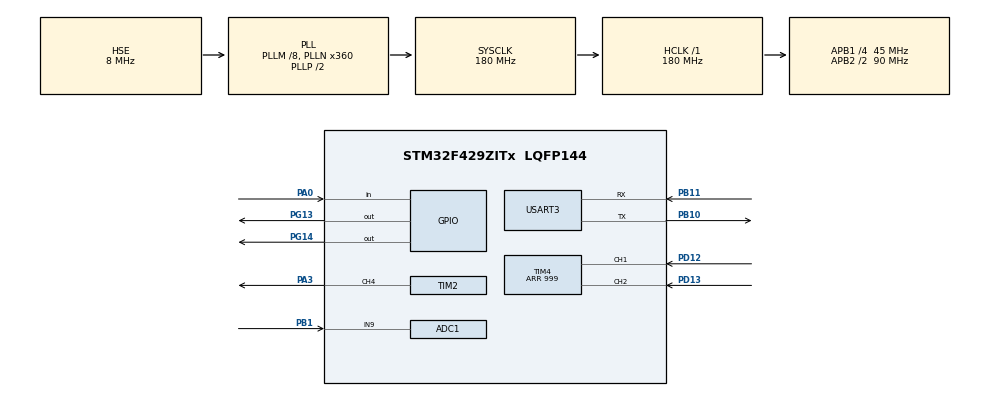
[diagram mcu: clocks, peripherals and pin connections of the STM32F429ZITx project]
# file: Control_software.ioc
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ADC1.Channel-0\#ChannelRegularConversion=ADC_CHANNEL_9
ADC1.DMAContinuousRequests=ENABLE
ADC1.EOCSelection=ADC_EOC_SEQ_CONV
ADC1.ExternalTrigConv=ADC_EXTERNALTRIGCONV_T2_TRGO
ADC1.NbrOfConversion=1
ADC1.NbrOfConversionFlag=1
ADC1.Rank-0\#ChannelRegularConversion=1
ADC1.SamplingTime-0\#ChannelRegularConversion=ADC_SAMPLETIME_3CYCLES
ADC1.master=1
Dma.ADC1.1.Direction=DMA_PERIPH_TO_MEMORY
Dma.ADC1.1.FIFOMode=DMA_FIFOMODE_DISABLE
Dma.ADC1.1.Instance=DMA2_Stream0
Dma.ADC1.1.MemDataAlignment=DMA_MDATAALIGN_HALFWORD
Dma.ADC1.1.MemInc=DMA_MINC_DISABLE
Dma.ADC1.1.Mode=DMA_CIRCULAR
Dma.ADC1.1.PeriphDataAlignment=DMA_PDATAALIGN_HALFWORD
Dma.ADC1.1.PeriphInc=DMA_PINC_DISABLE
Dma.ADC1.1.Priority=DMA_PRIORITY_LOW
Dma.Request0=USART3_TX
Dma.Request1=ADC1
Dma.USART3_TX.0.Direction=DMA_MEMORY_TO_PERIPH
Dma.USART3_TX.0.FIFOMode=DMA_FIFOMODE_DISABLE
Dma.USART3_TX.0.Instance=DMA1_Stream3
Dma.USART3_TX.0.MemDataAlignment=DMA_MDATAALIGN_BYTE
Dma.USART3_TX.0.MemInc=DMA_MINC_ENABLE
Dma.USART3_TX.0.Mode=DMA_NORMAL
Dma.USART3_TX.0.PeriphDataAlignment=DMA_PDATAALIGN_BYTE
Dma.USART3_TX.0.PeriphInc=DMA_PINC_DISABLE
Dma.USART3_TX.0.Priority=DMA_PRIORITY_LOW
Mcu.Family=STM32F4
Mcu.Name=STM32F429ZITx
Mcu.Package=LQFP144
NVIC.DMA1_Stream3_IRQn=true\:0\:0\:false\:false\:true\:false\:true\:true
NVIC.DMA2_Stream0_IRQn=true\:0\:0\:false\:false\:true\:false\:true\:true
NVIC.PriorityGroup=NVIC_PRIORITYGROUP_4
NVIC.TIM2_IRQn=true\:0\:0\:false\:false\:true\:true\:true\:true
NVIC.USART3_IRQn=true\:0\:0\:false\:false\:true\:true\:true\:true
PA0/WKUP.GPIO_Mode=GPIO_MODE_INPUT
PA0/WKUP.GPIO_PuPd=GPIO_NOPULL
PA0/WKUP.Signal=GPIO_Input
PA3.Signal=S_TIM2_CH4
PB1.Signal=ADCx_IN9
PB10.Mode=Asynchronous
PB10.Signal=USART3_TX
PB11.Mode=Asynchronous
PB11.Signal=USART3_RX
PD12.Signal=S_TIM4_CH1
PD13.Signal=S_TIM4_CH2
PG13.GPIO_PuPd=GPIO_NOPULL
PG13.Signal=GPIO_Output
PG14.GPIO_PuPd=GPIO_NOPULL
PG14.Signal=GPIO_Output
PH0/OSC_IN.Mode=HSE-External-Oscillator
PH0/OSC_IN.Signal=RCC_OSC_IN
PH1/OSC_OUT.Mode=HSE-External-Oscillator
PH1/OSC_OUT.Signal=RCC_OSC_OUT
ProjectManager.HeapSize=0x200
ProjectManager.StackSize=0x400
ProjectManager.TargetToolchain=STM32CubeIDE
RCC.48MHZClocksFreq_Value=90000000
RCC.AHBFreq_Value=180000000
RCC.APB1CLKDivider=RCC_HCLK_DIV4
RCC.APB1Freq_Value=45000000
RCC.APB1TimFreq_Value=90000000
RCC.APB2CLKDivider=RCC_HCLK_DIV2
RCC.APB2Freq_Value=90000000
RCC.APB2TimFreq_Value=180000000
RCC.CortexFreq_Value=180000000
RCC.HCLKFreq_Value=180000000
RCC.HSE_VALUE=8000000
RCC.HSI_VALUE=16000000
RCC.LSE_VALUE=32768
RCC.PLLM=8
RCC.PLLN=360
RCC.PLLSourceVirtual=RCC_PLLSOURCE_HSE
RCC.SYSCLKFreq_VALUE=180000000
RCC.SYSCLKSource=RCC_SYSCLKSOURCE_PLLCLK
RCC.VCOOutputFreq_Value=360000000
SH.ADCx_IN9.0=ADC1_IN9,IN9
SH.S_TIM2_CH4.0=TIM2_CH4,PWM Generation4 CH4
SH.S_TIM4_CH1.0=TIM4_CH1,Encoder_Interface
SH.S_TIM4_CH2.0=TIM4_CH2,Encoder_Interface
TIM2.Channel-PWM\ Generation4\ CH4=TIM_CHANNEL_4
TIM2.OCPolarity_4=TIM_OCPOLARITY_LOW
TIM2.Period=999
TIM2.Prescaler=89
TIM2.TIM_MasterOutputTrigger=TIM_TRGO_UPDATE
TIM4.EncoderMode=TIM_ENCODERMODE_TI12
TIM4.Period=999
USART3.VirtualMode=VM_ASYNC
VP_TIM2_VS_ClockSourceINT.Mode=Internal
board=custom

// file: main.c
/* USER CODE BEGIN Header */
/**
  ******************************************************************************
  * @file           : main.c
  * @brief          : Main program body
  ******************************************************************************
  * @attention
  *
  * Copyright (c) 2024 STMicroelectronics.
  * All rights reserved.
  *
  * This software is licensed under terms that can be found in the LICENSE file
  * in the root directory of this software component.
  * If no LICENSE file comes with this software, it is provided AS-IS.
  *
  ******************************************************************************
  */
/* USER CODE END Header */
#include "main.h"

/* USER CODE BEGIN Includes */
#include <stdio.h>
/* USER CODE END Includes */

ADC_HandleTypeDef hadc1;
DMA_HandleTypeDef hdma_adc1;

TIM_HandleTypeDef htim2;
TIM_HandleTypeDef htim4;

UART_HandleTypeDef huart3;
DMA_HandleTypeDef hdma_usart3_tx;

void SystemClock_Config(void);
static void MX_GPIO_Init(void);
static void MX_DMA_Init(void);
static void MX_USART3_UART_Init(void);
static void MX_TIM2_Init(void);
static void MX_TIM4_Init(void);
static void MX_ADC1_Init(void);
/* USER CODE BEGIN PFP */
uint16_t adc_pot;
/* USER CODE END PFP */

/* USER CODE BEGIN 0 */
void delay(int32_t i_max);
int _write(int fd, char* ptr, int len);
/* USER CODE END 0 */

int main(void)
{

  /* MCU Configuration--------------------------------------------------------*/

  /* Reset of all peripherals, Initializes the Flash interface and the Systick. */
  HAL_Init();

  /* USER CODE BEGIN Init */

  // *** TIM2 - Motor PWM
  // --------------------------------------------------
  __HAL_RCC_TIM2_CLK_ENABLE();
  // --------------------------------------------------

  // *** TIM4 - Encoder Position
  // --------------------------------------------------
  __HAL_RCC_TIM4_CLK_ENABLE();
  // --------------------------------------------------

  // *** TIM4 - Encoder Position
  // --------------------------------------------------
  __HAL_RCC_TIM4_CLK_ENABLE();
  // --------------------------------------------------

  /* USER CODE END Init */

  /* Configure the system clock */
  SystemClock_Config();

  /* Initialize all configured peripherals */
  MX_GPIO_Init();
  MX_DMA_Init();
  MX_USART3_UART_Init();
  MX_TIM2_Init();
  MX_TIM4_Init();
  MX_ADC1_Init();
  /* USER CODE BEGIN 2 */

  // *** TIM2 - PWM
  // --------------------------------------------------
  HAL_TIM_PWM_Start(&htim2, TIM_CHANNEL_4);
  HAL_TIM_Base_Start_IT(&htim2);
  // --------------------------------------------------

  // *** ADC - POT
  // -----------------------------------------------------------------
  HAL_ADC_Start_DMA(&hadc1, &adc_pot, 1);
  // -----------------------------------------------------------------

  // *** TIM4 - ENCO
  // -----------------------------------------------------------------
  HAL_TIM_Encoder_Start(&htim4, TIM_CHANNEL_1);
  HAL_TIM_Encoder_Start(&htim4, TIM_CHANNEL_2);
  // -----------------------------------------------------------------

  /* USER CODE END 2 */

  /* Infinite loop */
  /* USER CODE BEGIN WHILE */
  while (1)
  {
	  // GPIO Output
	  // -------------------------------------------------------------
	  /*
	  delay(1000000);
	  HAL_GPIO_WritePin(GPIOG, GPIO_PIN_13, GPIO_PIN_SET);
	  delay(1000000);
	  HAL_GPIO_WritePin(GPIOG, GPIO_PIN_13, GPIO_PIN_RESET);
	  */
	  // -------------------------------------------------------------

	  // GPIO Input
	  // -------------------------------------------------------------
	  /*
	  if(HAL_GPIO_ReadPin(GPIOA, GPIO_PIN_0) == GPIO_PIN_RESET)
		  HAL_GPIO_WritePin(GPIOG, GPIO_PIN_14, GPIO_PIN_RESET);
	  else
		  HAL_GPIO_WritePin(GPIOG, GPIO_PIN_14, GPIO_PIN_SET);
		*/
	  // -------------------------------------------------------------

	  // USART3/DMA/printf
	  // -------------------------------------------------------------
	  /*
	  printf("STM32!\r\n");
	  delay(10000000);
	  */
	  // -------------------------------------------------------------

	  // ** TIM - PWM
	  TIM2->CCR4 = 750;

	  printf("EncoPos: %i; ADC: %i\r\n", TIM4->CNT, adc_pot);
	  delay(10000000);

    /* USER CODE END WHILE */

  }
}

void SystemClock_Config(void)
{
  RCC_OscInitTypeDef RCC_OscInitStruct = {0};
  RCC_ClkInitTypeDef RCC_ClkInitStruct = {0};

  /** Configure the main internal regulator output voltage
  */
  __HAL_RCC_PWR_CLK_ENABLE();
  __HAL_PWR_VOLTAGESCALING_CONFIG(PWR_REGULATOR_VOLTAGE_SCALE1);

  /** Initializes the RCC Oscillators according to the specified parameters
  * in the RCC_OscInitTypeDef structure.
  */
  RCC_OscInitStruct.OscillatorType = RCC_OSCILLATORTYPE_HSE;
  RCC_OscInitStruct.HSEState = RCC_HSE_ON;
  RCC_OscInitStruct.PLL.PLLState = RCC_PLL_ON;
  RCC_OscInitStruct.PLL.PLLSource = RCC_PLLSOURCE_HSE;
  RCC_OscInitStruct.PLL.PLLM = 8;
  RCC_OscInitStruct.PLL.PLLN = 360;
  RCC_OscInitStruct.PLL.PLLP = RCC_PLLP_DIV2;
  RCC_OscInitStruct.PLL.PLLQ = 4;
  if (HAL_RCC_OscConfig(&RCC_OscInitStruct) != HAL_OK)
  {
    Error_Handler();
  }

  /** Activate the Over-Drive mode
  */
  if (HAL_PWREx_EnableOverDrive() != HAL_OK)
  {
    Error_Handler();
  }

  /** Initializes the CPU, AHB and APB buses clocks
  */
  RCC_ClkInitStruct.ClockType = RCC_CLOCKTYPE_HCLK|RCC_CLOCKTYPE_SYSCLK
                              |RCC_CLOCKTYPE_PCLK1|RCC_CLOCKTYPE_PCLK2;
  RCC_ClkInitStruct.SYSCLKSource = RCC_SYSCLKSOURCE_PLLCLK;
  RCC_ClkInitStruct.AHBCLKDivider = RCC_SYSCLK_DIV1;
  RCC_ClkInitStruct.APB1CLKDivider = RCC_HCLK_DIV4;
  RCC_ClkInitStruct.APB2CLKDivider = RCC_HCLK_DIV2;

  if (HAL_RCC_ClockConfig(&RCC_ClkInitStruct, FLASH_LATENCY_5) != HAL_OK)
  {
    Error_Handler();
  }
}

static void MX_ADC1_Init(void)
{

  ADC_ChannelConfTypeDef sConfig = {0};

  /** Configure the global features of the ADC (Clock, Resolution, Data Alignment and number of conversion)
  */
  hadc1.Instance = ADC1;
  hadc1.Init.ClockPrescaler = ADC_CLOCK_SYNC_PCLK_DIV4;
  hadc1.Init.Resolution = ADC_RESOLUTION_12B;
  hadc1.Init.ScanConvMode = DISABLE;
  hadc1.Init.ContinuousConvMode = DISABLE;
  hadc1.Init.DiscontinuousConvMode = DISABLE;
  hadc1.Init.ExternalTrigConvEdge = ADC_EXTERNALTRIGCONVEDGE_RISING;
  hadc1.Init.ExternalTrigConv = ADC_EXTERNALTRIGCONV_T2_TRGO;
  hadc1.Init.DataAlign = ADC_DATAALIGN_RIGHT;
  hadc1.Init.NbrOfConversion = 1;
  hadc1.Init.DMAContinuousRequests = ENABLE;
  hadc1.Init.EOCSelection = ADC_EOC_SEQ_CONV;
  if (HAL_ADC_Init(&hadc1) != HAL_OK)
  {
    Error_Handler();
  }

  /** Configure for the selected ADC regular channel its corresponding rank in the sequencer and its sample time.
  */
  sConfig.Channel = ADC_CHANNEL_9;
  sConfig.Rank = 1;
  sConfig.SamplingTime = ADC_SAMPLETIME_3CYCLES;
  if (HAL_ADC_ConfigChannel(&hadc1, &sConfig) != HAL_OK)
  {
    Error_Handler();
  }

}

static void MX_TIM2_Init(void)
{

  TIM_ClockConfigTypeDef sClockSourceConfig = {0};
  TIM_MasterConfigTypeDef sMasterConfig = {0};
  TIM_OC_InitTypeDef sConfigOC = {0};

  htim2.Instance = TIM2;
  htim2.Init.Prescaler = 89;
  htim2.Init.CounterMode = TIM_COUNTERMODE_UP;
  htim2.Init.Period = 999;
  htim2.Init.ClockDivision = TIM_CLOCKDIVISION_DIV1;
  htim2.Init.AutoReloadPreload = TIM_AUTORELOAD_PRELOAD_DISABLE;
  if (HAL_TIM_Base_Init(&htim2) != HAL_OK)
  {
    Error_Handler();
  }
  sClockSourceConfig.ClockSource = TIM_CLOCKSOURCE_INTERNAL;
  if (HAL_TIM_ConfigClockSource(&htim2, &sClockSourceConfig) != HAL_OK)
  {
    Error_Handler();
  }
  if (HAL_TIM_PWM_Init(&htim2) != HAL_OK)
  {
    Error_Handler();
  }
  sMasterConfig.MasterOutputTrigger = TIM_TRGO_UPDATE;
  sMasterConfig.MasterSlaveMode = TIM_MASTERSLAVEMODE_DISABLE;
  if (HAL_TIMEx_MasterConfigSynchronization(&htim2, &sMasterConfig) != HAL_OK)
  {
    Error_Handler();
  }
  sConfigOC.OCMode = TIM_OCMODE_PWM1;
  sConfigOC.Pulse = 0;
  sConfigOC.OCPolarity = TIM_OCPOLARITY_LOW;
  sConfigOC.OCFastMode = TIM_OCFAST_DISABLE;
  if (HAL_TIM_PWM_ConfigChannel(&htim2, &sConfigOC, TIM_CHANNEL_4) != HAL_OK)
  {
    Error_Handler();
  }
  HAL_TIM_MspPostInit(&htim2);

}

static void MX_TIM4_Init(void)
{

  TIM_Encoder_InitTypeDef sConfig = {0};
  TIM_MasterConfigTypeDef sMasterConfig = {0};

  htim4.Instance = TIM4;
  htim4.Init.Prescaler = 0;
  htim4.Init.CounterMode = TIM_COUNTERMODE_UP;
  htim4.Init.Period = 999;
  htim4.Init.ClockDivision = TIM_CLOCKDIVISION_DIV1;
  htim4.Init.AutoReloadPreload = TIM_AUTORELOAD_PRELOAD_DISABLE;
  sConfig.EncoderMode = TIM_ENCODERMODE_TI12;
  sConfig.IC1Polarity = TIM_ICPOLARITY_RISING;
  sConfig.IC1Selection = TIM_ICSELECTION_DIRECTTI;
  sConfig.IC1Prescaler = TIM_ICPSC_DIV1;
  sConfig.IC1Filter = 0;
  sConfig.IC2Polarity = TIM_ICPOLARITY_RISING;
  sConfig.IC2Selection = TIM_ICSELECTION_DIRECTTI;
  sConfig.IC2Prescaler = TIM_ICPSC_DIV1;
  sConfig.IC2Filter = 0;
  if (HAL_TIM_Encoder_Init(&htim4, &sConfig) != HAL_OK)
  {
    Error_Handler();
  }
  sMasterConfig.MasterOutputTrigger = TIM_TRGO_RESET;
  sMasterConfig.MasterSlaveMode = TIM_MASTERSLAVEMODE_DISABLE;
  if (HAL_TIMEx_MasterConfigSynchronization(&htim4, &sMasterConfig) != HAL_OK)
  {
    Error_Handler();
  }

}

static void MX_USART3_UART_Init(void)
{

  huart3.Instance = USART3;
  huart3.Init.BaudRate = 115200;
  huart3.Init.WordLength = UART_WORDLENGTH_8B;
  huart3.Init.StopBits = UART_STOPBITS_1;
  huart3.Init.Parity = UART_PARITY_NONE;
  huart3.Init.Mode = UART_MODE_TX_RX;
  huart3.Init.HwFlowCtl = UART_HWCONTROL_NONE;
  huart3.Init.OverSampling = UART_OVERSAMPLING_16;
  if (HAL_UART_Init(&huart3) != HAL_OK)
  {
    Error_Handler();
  }

}

static void MX_DMA_Init(void)
{

  /* DMA controller clock enable */
  __HAL_RCC_DMA1_CLK_ENABLE();
  __HAL_RCC_DMA2_CLK_ENABLE();

  /* DMA interrupt init */
  /* DMA1_Stream3_IRQn interrupt configuration */
  HAL_NVIC_SetPriority(DMA1_Stream3_IRQn, 0, 0);
  HAL_NVIC_EnableIRQ(DMA1_Stream3_IRQn);
  /* DMA2_Stream0_IRQn interrupt configuration */
  HAL_NVIC_SetPriority(DMA2_Stream0_IRQn, 0, 0);
  HAL_NVIC_EnableIRQ(DMA2_Stream0_IRQn);

}

static void MX_GPIO_Init(void)
{
  GPIO_InitTypeDef GPIO_InitStruct = {0};

  /* GPIO Ports Clock Enable */
  __HAL_RCC_GPIOH_CLK_ENABLE();
  __HAL_RCC_GPIOA_CLK_ENABLE();
  __HAL_RCC_GPIOB_CLK_ENABLE();
  __HAL_RCC_GPIOD_CLK_ENABLE();
  __HAL_RCC_GPIOG_CLK_ENABLE();

  /*Configure GPIO pin Output Level */
  HAL_GPIO_WritePin(GPIOG, GPIO_PIN_13|GPIO_PIN_14, GPIO_PIN_RESET);

  /*Configure GPIO pin : PA0 */
  GPIO_InitStruct.Pin = GPIO_PIN_0;
  GPIO_InitStruct.Mode = GPIO_MODE_INPUT;
  GPIO_InitStruct.Pull = GPIO_NOPULL;
  HAL_GPIO_Init(GPIOA, &GPIO_InitStruct);

  /*Configure GPIO pins : PG13 PG14 */
  GPIO_InitStruct.Pin = GPIO_PIN_13|GPIO_PIN_14;
  GPIO_InitStruct.Mode = GPIO_MODE_OUTPUT_PP;
  GPIO_InitStruct.Pull = GPIO_NOPULL;
  GPIO_InitStruct.Speed = GPIO_SPEED_FREQ_LOW;
  HAL_GPIO_Init(GPIOG, &GPIO_InitStruct);

}

/* USER CODE BEGIN 4 */

void delay(int32_t i_max)
{
	volatile int32_t i;

	for(i = 0; i < i_max; i++);
}

int _write(int fd, char* ptr, int len)
{
    HAL_UART_Transmit_DMA(&huart3, (uint8_t *) ptr, len);
	//HAL_UART_Transmit(&huart3, (uint8_t *) ptr, len, 10000);
    return len;
}

/* USER CODE END 4 */

void Error_Handler(void)
{
  __disable_irq();
  while (1)
  {
  }
}
